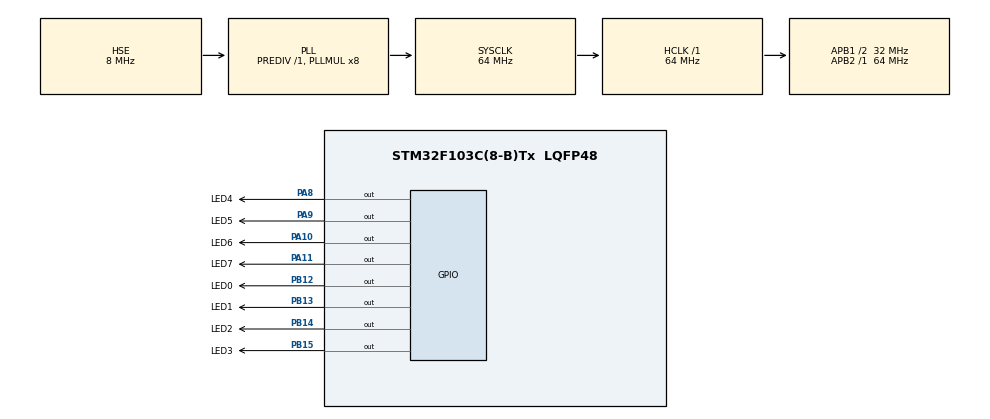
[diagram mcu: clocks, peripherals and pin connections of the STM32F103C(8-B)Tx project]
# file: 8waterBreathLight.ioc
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Mcu.Family=STM32F1
Mcu.Name=STM32F103C(8-B)Tx
Mcu.Package=LQFP48
NVIC.PriorityGroup=NVIC_PRIORITYGROUP_4
NVIC.TIM1_UP_IRQn=true\:0\:0\:false\:false\:true\:true\:true
PA10.GPIO_Label=LED6
PA10.GPIO_Speed=GPIO_SPEED_FREQ_HIGH
PA10.PinState=GPIO_PIN_SET
PA10.Signal=GPIO_Output
PA11.GPIO_Label=LED7
PA11.GPIO_Speed=GPIO_SPEED_FREQ_HIGH
PA11.PinState=GPIO_PIN_SET
PA11.Signal=GPIO_Output
PA13.Mode=Serial_Wire
PA13.Signal=SYS_JTMS-SWDIO
PA14.Mode=Serial_Wire
PA14.Signal=SYS_JTCK-SWCLK
PA8.GPIO_Label=LED4
PA8.PinState=GPIO_PIN_SET
PA8.Signal=GPIO_Output
PA9.GPIO_Label=LED5
PA9.GPIO_Speed=GPIO_SPEED_FREQ_HIGH
PA9.PinState=GPIO_PIN_SET
PA9.Signal=GPIO_Output
PB12.GPIO_Label=LED0
PB12.GPIO_Speed=GPIO_SPEED_FREQ_HIGH
PB12.PinState=GPIO_PIN_SET
PB12.Signal=GPIO_Output
PB13.GPIO_Label=LED1
PB13.GPIO_Speed=GPIO_SPEED_FREQ_HIGH
PB13.PinState=GPIO_PIN_SET
PB13.Signal=GPIO_Output
PB14.GPIO_Label=LED2
PB14.GPIO_Speed=GPIO_SPEED_FREQ_HIGH
PB14.PinState=GPIO_PIN_SET
PB14.Signal=GPIO_Output
PB15.GPIO_Label=LED3
PB15.GPIO_Speed=GPIO_SPEED_FREQ_HIGH
PB15.PinState=GPIO_PIN_SET
PB15.Signal=GPIO_Output
PD0-OSC_IN.Mode=HSE-External-Oscillator
PD0-OSC_IN.Signal=RCC_OSC_IN
PD1-OSC_OUT.Mode=HSE-External-Oscillator
PD1-OSC_OUT.Signal=RCC_OSC_OUT
ProjectManager.HeapSize=0x200
ProjectManager.StackSize=0x400
ProjectManager.TargetToolchain=MDK-ARM V5.27
RCC.AHBFreq_Value=64000000
RCC.APB1CLKDivider=RCC_HCLK_DIV2
RCC.APB1Freq_Value=32000000
RCC.APB1TimFreq_Value=64000000
RCC.APB2Freq_Value=64000000
RCC.APB2TimFreq_Value=64000000
RCC.HCLKFreq_Value=64000000
RCC.PLLMUL=RCC_PLL_MUL8
RCC.PLLSourceVirtual=RCC_PLLSOURCE_HSE
RCC.SYSCLKFreq_VALUE=64000000
RCC.SYSCLKSource=RCC_SYSCLKSOURCE_PLLCLK
RCC.USBFreq_Value=64000000
TIM1.Period=1
TIM1.Prescaler=6400
VP_TIM1_VS_ClockSourceINT.Mode=Internal
board=custom

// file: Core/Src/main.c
/* USER CODE BEGIN Header */
/**
  ******************************************************************************
  * @file           : main.c
  * @brief          : Main program body
  ******************************************************************************
  * @attention
  *
  * <h2><center>&copy; Copyright (c) 2020 STMicroelectronics.
  * All rights reserved.</center></h2>
  *
  * This software component is licensed by ST under BSD 3-Clause license,
  * the "License"; You may not use this file except in compliance with the
  * License. You may obtain a copy of the License at:
  *                        opensource.org/licenses/BSD-3-Clause
  *
  ******************************************************************************
  */
/* USER CODE END Header */
#include "main.h"

TIM_HandleTypeDef htim1;

/* USER CODE BEGIN PV */
unsigned char breath_dir=0;// 记录流水灯方向  0是从灭到亮
unsigned char breath_rt=0;// 流水灯计时器
unsigned char breath_speed_cnt=0;// 速度
unsigned char breath_Ton=0;//亮的时间占比
void setAllClear(){  // 清除函数 用于在转换灯的时候将其他灯熄灭 否则其他灯的状态可能亮着
	HAL_GPIO_WritePin(LED0_GPIO_Port, LED0_Pin,GPIO_PIN_SET);
	HAL_GPIO_WritePin(LED1_GPIO_Port, LED1_Pin,GPIO_PIN_SET);
	HAL_GPIO_WritePin(LED2_GPIO_Port, LED2_Pin,GPIO_PIN_SET);
	HAL_GPIO_WritePin(LED3_GPIO_Port, LED3_Pin,GPIO_PIN_SET);
	HAL_GPIO_WritePin(LED4_GPIO_Port, LED4_Pin,GPIO_PIN_SET);
	HAL_GPIO_WritePin(LED5_GPIO_Port, LED5_Pin,GPIO_PIN_SET);
	HAL_GPIO_WritePin(LED6_GPIO_Port, LED6_Pin,GPIO_PIN_SET);
	HAL_GPIO_WritePin(LED7_GPIO_Port, LED7_Pin,GPIO_PIN_SET);
	// 相关的流水灯的全局变量清空
	breath_dir=0;
	breath_rt=0;
	breath_speed_cnt=0;
	breath_Ton=0;
}
void Breath_Light(unsigned char breath_speed,unsigned char breath_Ta,int currentLedNum)// 三个参数 呼吸速度 呼吸时间 当前进行的是那个呼吸灯
{
	// breath_Ta  是传入的值 这个值很重要
    // 是指的亮的总时间 他和基准频率 也就是这个函数调用的时间间隔共同决定了呼吸灯一个呼吸的时间
    // 举个例子 如果 这个函数每 0.1ms == 100μ s 调用一次 而且 breath_Ta =100
    // 那么一个呼吸(从完全不亮 -> 亮 -> 完全不亮) 需要两秒 其中的数学关系我就不研究了 每啥意思
	GPIO_TypeDef * current_Led_GPIO_Port;   //当前led灯
	uint16_t current_Led_Pin;
	switch(currentLedNum){
		case 0:
			current_Led_GPIO_Port = LED0_GPIO_Port;
			current_Led_Pin = LED0_Pin;
			break;
		case 1:
			current_Led_GPIO_Port = LED1_GPIO_Port;
			current_Led_Pin = LED1_Pin;
			break;
		case 2:
			current_Led_GPIO_Port = LED2_GPIO_Port;
			current_Led_Pin = LED2_Pin;
			break;
		case 3:
			current_Led_GPIO_Port = LED3_GPIO_Port;
			current_Led_Pin = LED3_Pin;
			break;
		case 4:
			current_Led_GPIO_Port = LED4_GPIO_Port;
			current_Led_Pin = LED4_Pin;
			break;
		case 5:
			current_Led_GPIO_Port = LED5_GPIO_Port;
			current_Led_Pin = LED5_Pin;
			break;
		case 6:
			current_Led_GPIO_Port = LED6_GPIO_Port;
			current_Led_Pin = LED6_Pin;
			break;
		case 7:
			current_Led_GPIO_Port = LED7_GPIO_Port;
			current_Led_Pin = LED7_Pin;
			break;
	}
	// 核心函数
	/*   流水灯的原理
	* 代表不亮  - 代表亮
	***************  无光
	-**************
	--*************
	---************
	----***********
	-----**********
	------********* 中等亮度
	-------********
	--------*******
	---------******
	----------*****
	-----------****
	------------***
	-------------**
	--------------*
	--------------- 最亮
	*/
	if(!breath_dir) // 如果breath_dir == 0 说明需要从不亮到全亮
	{
		if(breath_Ta<breath_rt)// breath_rt 是用来计数的 到达breath_Ta 之后就需要进行增加亮度时间占比
							   //breath_Ta  是传入的值 这个值很重要
							   // 是指的亮的总时间 他和基准频率 也就是这个函数调用的时间间隔共同决定了呼吸灯一个呼吸的时间
							   // 举个例子 如果 这个函数每 0.1ms == 100μ s 调用一次 而且 breath_Ta =100
							   // 那么一个呼吸(从完全不亮 -> 亮 -> 完全不亮) 需要两秒 其中的数学关系我就不研究了 每啥意思
		{
			breath_rt=0; // 归零 该进行下一周期的活动了
			if(0==breath_speed_cnt++%breath_speed)
			{
				breath_speed_cnt=0;
				breath_Ton++;//亮度占比增加
			}
		}
		else  //
		{
			breath_rt++;//计数器增加
		}
		if(breath_Ton>=breath_Ta)
		{
			breath_dir=1;  // 当亮的时间占比已经全满的时候 说明这个时候亮度最高了 需要切换模式了
			breath_Ton=breath_Ta;  // 亮度时间不能超过总时间 所以要重置
		}
		// 判断一下 如果breath_rt(计数器) 没有超过灯亮时间(亮度占比) 那么就把灯点亮(reset是点亮 因为reset是0 我的led灯是共阳极)
		// 因为灯亮时间(亮度占比) 一开始是个很小的数 breath_rt 很容易就能超过它 所以一开始肯定亮度低
		(breath_Ton>breath_rt)?(HAL_GPIO_WritePin(current_Led_GPIO_Port, current_Led_Pin,GPIO_PIN_RESET)):
													(HAL_GPIO_WritePin(current_Led_GPIO_Port, current_Led_Pin,GPIO_PIN_SET));	//Ton?????
	}
	else  // 从最亮 延展到熄灭  和上方过程证号相反 差不多的代码 就不注释了
	{
		if(breath_Ta<breath_rt)
		{
			breath_rt=0;
			if(0==breath_speed_cnt++%breath_speed)
			{
				breath_speed_cnt=0;
				breath_Ton--;
			}
		}
		else  //
		{
			breath_rt++;
		}
		if(0>=breath_Ton)
		{
			breath_dir=0;
			breath_Ton=0;
		}
		(breath_Ton>breath_rt)?(HAL_GPIO_WritePin(current_Led_GPIO_Port, current_Led_Pin,GPIO_PIN_RESET)):
													(HAL_GPIO_WritePin(current_Led_GPIO_Port, current_Led_Pin,GPIO_PIN_SET));
	}
}

/* USER CODE END PV */

void SystemClock_Config(void);
static void MX_GPIO_Init(void);
static void MX_TIM1_Init(void);
/* USER CODE BEGIN PFP */
int count = 0;  // 用于控制多少时间切换一次灯
int currentLedNum = 0; // 用于控制当前灯
/* USER CODE END PFP */

/* USER CODE BEGIN 0 */
void HAL_TIM_PeriodElapsedCallback(TIM_HandleTypeDef *htim)
{
	/*
	count++;
	if(count %2500 == 0)
		if(htim->Instance == TIM1){
			HAL_GPIO_TogglePin(LED0_GPIO_Port, LED0_Pin);
		}
	*/
	if(htim->Instance == TIM1){
		Breath_Light(1,50,currentLedNum);//第一个参数是速度 没啥用 第二个是呼吸时间的一半 第三参数是当前的led的数字
		count++; // 计数器累加
		if(count % 5000 ==0){  // 这里分频后设置的时钟频率是64M 预分频6400
								// 然后每两次才触发更新事件 最终的时间间隔就是 (64M / 6400) * 2 = 0.2ms = 200μs
								// 而这里 count * 0.2ms = 1s 所以每隔1s切换灯
			currentLedNum = (currentLedNum + 1) % 8; // 因为有8个灯 所以进行取模运算
			setAllClear();  // 每次切换的时候 把所有灯都设置不亮 然后清空流水灯相关的全局变量参数
			count = 0;  // 最好清一下0 不清也行
		}
	}

}

/* USER CODE END PV */

/* Private function prototypes -----------------------------------------------*/
void SystemClock_Config(void);
static void MX_GPIO_Init(void);
static void MX_TIM1_Init(void);
/* USER CODE BEGIN PFP */

/* USER CODE END PFP */

/* Private user code ---------------------------------------------------------*/
/* USER CODE BEGIN 0 */

/* USER CODE END 0 */

int main(void)
{

  /* MCU Configuration--------------------------------------------------------*/

  /* Reset of all peripherals, Initializes the Flash interface and the Systick. */
  HAL_Init();

  /* Configure the system clock */
  SystemClock_Config();

  /* Initialize all configured peripherals */
  MX_GPIO_Init();
  MX_TIM1_Init();
  /* USER CODE BEGIN 2 */
	// 启动定时器  tim1
	HAL_TIM_Base_Start_IT(&htim1);
  /* USER CODE END 2 */
  /* Infinite loop */
  while (1)
  {

  }
}

void SystemClock_Config(void)
{
  RCC_OscInitTypeDef RCC_OscInitStruct = {0};
  RCC_ClkInitTypeDef RCC_ClkInitStruct = {0};

  /** Initializes the RCC Oscillators according to the specified parameters
  * in the RCC_OscInitTypeDef structure.
  */
  RCC_OscInitStruct.OscillatorType = RCC_OSCILLATORTYPE_HSE;
  RCC_OscInitStruct.HSEState = RCC_HSE_ON;
  RCC_OscInitStruct.HSEPredivValue = RCC_HSE_PREDIV_DIV1;
  RCC_OscInitStruct.HSIState = RCC_HSI_ON;
  RCC_OscInitStruct.PLL.PLLState = RCC_PLL_ON;
  RCC_OscInitStruct.PLL.PLLSource = RCC_PLLSOURCE_HSE;
  RCC_OscInitStruct.PLL.PLLMUL = RCC_PLL_MUL8;
  if (HAL_RCC_OscConfig(&RCC_OscInitStruct) != HAL_OK)
  {
    Error_Handler();
  }
  /** Initializes the CPU, AHB and APB buses clocks
  */
  RCC_ClkInitStruct.ClockType = RCC_CLOCKTYPE_HCLK|RCC_CLOCKTYPE_SYSCLK
                              |RCC_CLOCKTYPE_PCLK1|RCC_CLOCKTYPE_PCLK2;
  RCC_ClkInitStruct.SYSCLKSource = RCC_SYSCLKSOURCE_PLLCLK;
  RCC_ClkInitStruct.AHBCLKDivider = RCC_SYSCLK_DIV1;
  RCC_ClkInitStruct.APB1CLKDivider = RCC_HCLK_DIV2;
  RCC_ClkInitStruct.APB2CLKDivider = RCC_HCLK_DIV1;

  if (HAL_RCC_ClockConfig(&RCC_ClkInitStruct, FLASH_LATENCY_2) != HAL_OK)
  {
    Error_Handler();
  }
}

static void MX_TIM1_Init(void)
{

  TIM_ClockConfigTypeDef sClockSourceConfig = {0};
  TIM_MasterConfigTypeDef sMasterConfig = {0};

	// 这里分频后设置的时钟频率是64M 预分频6400
	// 然后每两次才触发更新事件 最终的时间间隔就是 (64M / 6400) * 2 = 0.2ms = 200μs
  htim1.Instance = TIM1;
  htim1.Init.Prescaler = 6400;  //64M 预分频6400
  htim1.Init.CounterMode = TIM_COUNTERMODE_UP;
  htim1.Init.Period = 2;  // 每2次进行一次更新事件
  htim1.Init.ClockDivision = TIM_CLOCKDIVISION_DIV1;
  htim1.Init.RepetitionCounter = 0;
  htim1.Init.AutoReloadPreload = TIM_AUTORELOAD_PRELOAD_DISABLE;
  if (HAL_TIM_Base_Init(&htim1) != HAL_OK)
  {
    Error_Handler();
  }
  sClockSourceConfig.ClockSource = TIM_CLOCKSOURCE_INTERNAL;
  if (HAL_TIM_ConfigClockSource(&htim1, &sClockSourceConfig) != HAL_OK)
  {
    Error_Handler();
  }
  sMasterConfig.MasterOutputTrigger = TIM_TRGO_RESET;
  sMasterConfig.MasterSlaveMode = TIM_MASTERSLAVEMODE_DISABLE;
  if (HAL_TIMEx_MasterConfigSynchronization(&htim1, &sMasterConfig) != HAL_OK)
  {
    Error_Handler();
  }

}

static void MX_GPIO_Init(void)
{
  GPIO_InitTypeDef GPIO_InitStruct = {0};

  /* GPIO Ports Clock Enable */
  __HAL_RCC_GPIOD_CLK_ENABLE();
  __HAL_RCC_GPIOB_CLK_ENABLE();
  __HAL_RCC_GPIOA_CLK_ENABLE();

  /*Configure GPIO pin Output Level */
  HAL_GPIO_WritePin(GPIOB, LED0_Pin|LED1_Pin|LED2_Pin|LED3_Pin, GPIO_PIN_SET);

  /*Configure GPIO pin Output Level */
  HAL_GPIO_WritePin(GPIOA, LED4_Pin|LED5_Pin|LED6_Pin|LED7_Pin, GPIO_PIN_SET);

  /*Configure GPIO pins : LED0_Pin LED1_Pin LED2_Pin LED3_Pin */
  GPIO_InitStruct.Pin = LED0_Pin|LED1_Pin|LED2_Pin|LED3_Pin;
  GPIO_InitStruct.Mode = GPIO_MODE_OUTPUT_PP;
  GPIO_InitStruct.Pull = GPIO_NOPULL;
  GPIO_InitStruct.Speed = GPIO_SPEED_FREQ_HIGH;
  HAL_GPIO_Init(GPIOB, &GPIO_InitStruct);

  /*Configure GPIO pin : LED4_Pin */
  GPIO_InitStruct.Pin = LED4_Pin;
  GPIO_InitStruct.Mode = GPIO_MODE_OUTPUT_PP;
  GPIO_InitStruct.Pull = GPIO_NOPULL;
  GPIO_InitStruct.Speed = GPIO_SPEED_FREQ_LOW;
  HAL_GPIO_Init(LED4_GPIO_Port, &GPIO_InitStruct);

  /*Configure GPIO pins : LED5_Pin LED6_Pin LED7_Pin */
  GPIO_InitStruct.Pin = LED5_Pin|LED6_Pin|LED7_Pin;
  GPIO_InitStruct.Mode = GPIO_MODE_OUTPUT_PP;
  GPIO_InitStruct.Pull = GPIO_NOPULL;
  GPIO_InitStruct.Speed = GPIO_SPEED_FREQ_HIGH;
  HAL_GPIO_Init(GPIOA, &GPIO_InitStruct);

}

void Error_Handler(void)
{
}

/************************ (C) COPYRIGHT STMicroelectronics *****END OF FILE****/
